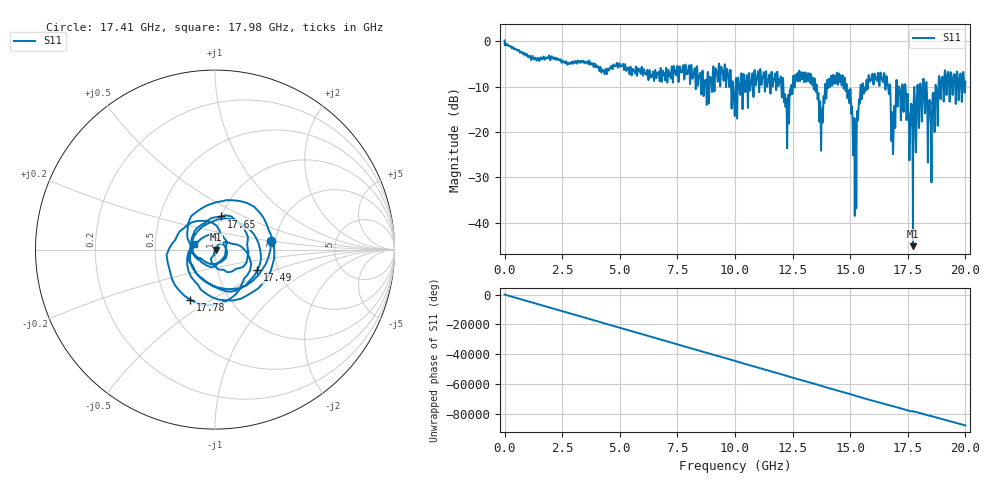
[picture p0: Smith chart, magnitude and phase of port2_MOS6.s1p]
! MS46122B
! 2250307/22442219
! 6/15/2025 8:14:12 AM
! C:\USERS\SPARKY\DOCUMENTS\VNA_DATA\JUNE15_2025\3.2K\PORT2_MOS6.S1P
! CHANNEL.1
! TR.MEASUREMENT
! RAW.DATA
# GHZ S RI R 50.0
! FREQ.GHZ  S11RE  S11IM
!; PortSelection: Port_1
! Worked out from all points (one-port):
!   10001 points, 1 MHz to 20 GHz, reference 50 ohm
!   lowest |S11| = -45.1 dB at 17.72 GHz (marker M1), VSWR 1.01, Z = 50.5 - j0.0963 ohm
!   |S11| at or under -10 dB: 14.85 GHz to 15.44 GHz (590.6 MHz wide, 3.9 % of centre); 17.4 GHz to 17.91 GHz (508.9 MHz wide, 2.88 % of centre); 18.32 GHz to 18.7 GHz (375.4 MHz wide, 2.03 % of centre) (the widest 3 of 59)
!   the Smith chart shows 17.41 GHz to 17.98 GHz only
!   S11 on the Smith chart (normalised r, x): 17.41 GHz: 1.88, +0.20; 17.49 GHz: 1.56, -0.39; 17.65 GHz: 1.00, +0.38; 17.78 GHz: 0.66, -0.40; 17.98 GHz: 0.79, +0.05
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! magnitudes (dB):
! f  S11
! 1 MHz  0.2
! 2.501 GHz  -4.4
! 5.001 GHz  -5.0
! 7.501 GHz  -5.4
! 10 GHz  -15.0
! 11.91 GHz  -8.7
! 12.27 GHz  -21.5
! 12.5 GHz  -10.7
! 13.29 GHz  -7.2
! 13.73 GHz  -24.0
! 14.25 GHz  -7.4
! 15 GHz  -10.6
! 15.2 GHz  -36.0
! 15.46 GHz  -9.6
! 15.88 GHz  -8.5
! 16.65 GHz  -10.0
! 16.86 GHz  -24.4
! 17.07 GHz  -12.9
! 17.41 GHz  -10.1
! 17.49 GHz  -11.6
! 17.5 GHz  -12.0
! 17.65 GHz  -14.5
! 17.72 GHz  -45.1
! 17.78 GHz  -10.1
! 17.98 GHz  -18.5
! 18.45 GHz  -13.3
! 18.93 GHz  -12.3
! 20 GHz  -8.8
